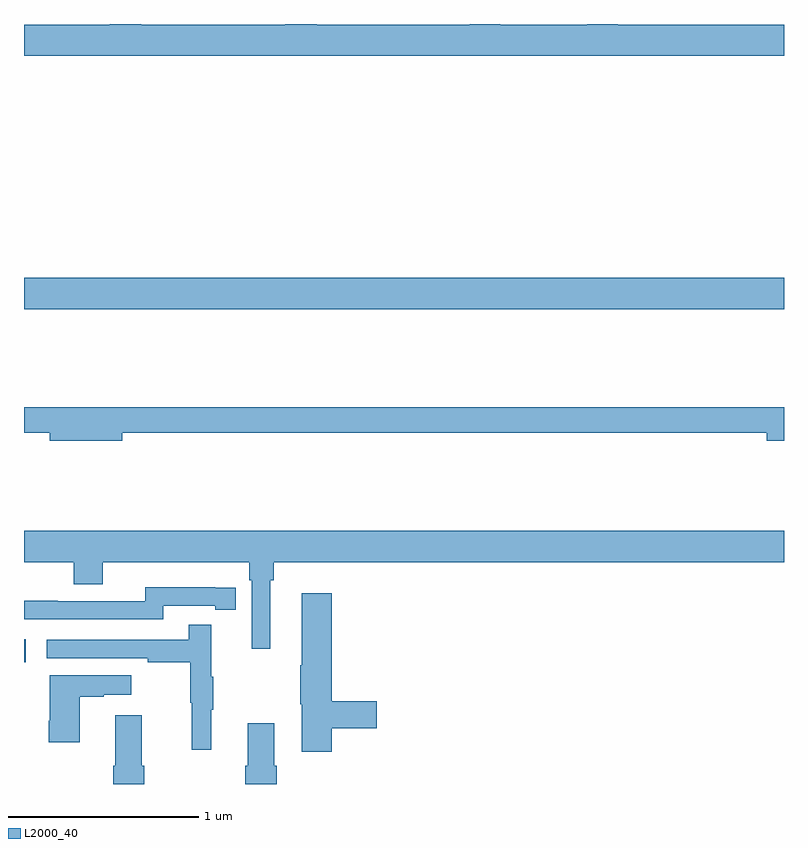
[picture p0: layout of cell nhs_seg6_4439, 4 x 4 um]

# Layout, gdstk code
import gdstk
lib = gdstk.Library(unit=1e-6, precision=1e-09)
def R(c, l, rs):  # rectangles x0, y0, x1, y1
    for r in rs: c.add(gdstk.rectangle(r[:2], r[2:], *l))
def P(c, l, *ps):  # polygons
    for p in ps: c.add(gdstk.Polygon(p, *l))
L2000_40 = (2000, 40)

nhs_seg6_4439 = lib.new_cell('nhs_seg6_4439')
R(nhs_seg6_4439, L2000_40, [(373,948.141,373.009,948.262), (373,950,377,950.164)])
P(nhs_seg6_4439, L2000_40, [(377,951.496),(376.124,951.496),(376.124,951.5),(375.964,951.5),(375.964,951.496),(375.507,951.496),(375.507,951.5),(375.347,951.5),(375.347,951.496),(374.54,951.496),(374.54,951.5),(374.375,951.5),(374.375,951.496),(373.616,951.496),(373.616,951.5),(373.451,951.5),(373.451,951.496),(373,951.496),(373,951.332),(377,951.332)],
  [(373.516,949.348),(376.91,949.348),(376.91,949.306),(377,949.306),(377,949.484),(373,949.484),(373,949.348),(373.136,949.348),(373.136,949.306),(373.516,949.306)],
  [(374.296,948.572),(374.315,948.572),(374.315,948.668),(377,948.668),(377,948.832),(373,948.832),(373,948.668),(373.262,948.668),(373.262,948.551),(373.414,948.551),(373.414,948.668),(374.186,948.668),(374.186,948.572),(374.199,948.572),(374.199,948.213),(374.296,948.213)],
  [(373.734,948.438),(374.006,948.438),(374.006,948.418),(374.114,948.418),(374.114,948.534),(374.006,948.534),(374.006,948.535),(373.638,948.535),(373.638,948.462),(373.178,948.462),(373.178,948.464),(373,948.464),(373,948.366),(373.734,948.366)],
  [(374.621,947.794),(374.857,947.794),(374.857,947.936),(374.621,947.936),(374.621,948.505),(374.462,948.505),(374.462,948.125),(374.455,948.125),(374.455,947.919),(374.462,947.919),(374.462,947.67),(374.621,947.67)],
  [(373.985,947.891),(373.996,947.891),(373.996,948.065),(373.985,948.065),(373.985,948.337),(373.867,948.337),(373.867,948.258),(373.119,948.258),(373.119,948.162),(373.651,948.162),(373.651,948.142),(373.875,948.142),(373.875,947.928),(373.882,947.928),(373.882,947.679),(373.985,947.679)],
  [(373.294,947.959),(373.421,947.959),(373.421,947.969),(373.564,947.969),(373.564,948.073),(373.136,948.073),(373.136,947.833),(373.129,947.833),(373.129,947.721),(373.294,947.721)],
  [(374.33,947.596),(374.317,947.596),(374.317,947.821),(374.177,947.821),(374.177,947.596),(374.165,947.596),(374.165,947.5),(374.33,947.5)],
  [(373.621,947.596),(373.621,947.863),(373.481,947.863),(373.481,947.596),(373.469,947.596),(373.469,947.5),(373.634,947.5),(373.634,947.596)])

lib.write_gds('nhs_seg6_4439.gds')
